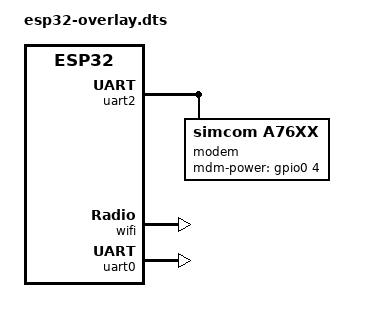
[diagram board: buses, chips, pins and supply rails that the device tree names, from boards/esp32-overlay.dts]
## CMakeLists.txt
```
# SPDX-License-Identifier: Apache-2.0

cmake_minimum_required(VERSION 3.20.0)

find_package(Zephyr REQUIRED HINTS $ENV{ZEPHYR_BASE})
project(adaptive_update)
FILE(GLOB app_sources src/*.c)
target_sources(app PRIVATE ${app_sources})
target_include_directories(app PRIVATE ${ZEPHYR_BASE}/subsys/net/ip)
target_include_directories(app PRIVATE include)
```

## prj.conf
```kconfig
CONFIG_BOOTLOADER_MCUBOOT=y

CONFIG_LOG=y
CONFIG_LOG_DEFAULT_LEVEL=3
# Config below is nice but it messes up wifi
CONFIG_LOG_MODE_IMMEDIATE=y  
CONFIG_NET_LOG=y
CONFIG_MODEM_LOG_LEVEL_DBG=y
CONFIG_UART_LOG_LEVEL_DBG=y
CONFIG_MODEM_CONTEXT_VERBOSE_DEBUG=y
CONFIG_LOG_MODE_IMMEDIATE=y
CONFIG_LOG_MODE_MINIMAL=y

# Network Configuration
CONFIG_NET_CONFIG_AUTO_INIT=n
CONFIG_NET_CONNECTION_MANAGER=y
# CONFIG_NET_IF_MAX_IPV4_COUNT=2
CONFIG_NET_IPV4=y
# CONFIG_NET_L2_ETHERNET=y
# CONFIG_NET_L2_WIFI_MGMT=y
# CONFIG_NET_MGMT=y
# CONFIG_NET_MGMT_EVENT=y
# CONFIG_NET_MGMT_EVENT_INFO=y
CONFIG_NET_UDP=y
CONFIG_NETWORKING=y
CONFIG_COAP=y
CONFIG_NET_SOCKETS=y
# CONFIG_POSIX_API=y
# CONFIG_NET_DHCPV4=y
# CONFIG_ESP32_WIFI_STA_AUTO_DHCPV4=y

CONFIG_NET_MGMT_EVENT_QUEUE_SIZE=10
CONFIG_NET_MGMT_EVENT_STACK_SIZE=4096
# CONFIG_NET_PKT_RX_COUNT=24
# CONFIG_NET_PKT_TX_COUNT=24
CONFIG_MAIN_STACK_SIZE=4096
# CONFIG_ISR_STACK_SIZE=4096
# CONFIG_NET_MGMT_EVENT_STACK_SIZE=5120

CONFIG_NET_BUF_RX_COUNT=32
CONFIG_NET_BUF_TX_COUNT=32
CONFIG_NET_BUF_DATA_SIZE=512
CONFIG_NET_RX_STACK_SIZE=4096
CONFIG_NET_TX_STACK_SIZE=4096
CONFIG_NET_PKT_RX_COUNT=64
CONFIG_NET_PKT_TX_COUNT=64
# CONFIG_HEAP_MEM_POOL_ADD_SIZE_ESP_WIFI=51200
# CONFIG_NET_DEBUG_MGMT_EVENT_STACK=y
CONFIG_SYSTEM_WORKQUEUE_STACK_SIZE=4096

CONFIG_SHELL=y
CONFIG_THREAD_STACK_INFO=y
CONFIG_THREAD_MONITOR=y
CONFIG_INIT_STACKS=y

# CONFIG_NET_SOCKETS_TLS_PRIORITY=45  # defaults to that already
# CONFIG_NET_SOCKETS_OFFLOAD_PRIORITY=40  # defaults to that already
# CONFIG_NET_SOCKETS_PRIORITY_DEFAULT=40  # defaults to that already
# i dont ever want socket() to link to the modem
CONFIG_MODEM_SIMCOM_A76XX_SOCKET_PRIORITY=40

CONFIG_NET_OFFLOAD=y
CONFIG_NET_SOCKETS=y
CONFIG_NET_SOCKETS_OFFLOAD=y

# Modem config
CONFIG_MODEM=y
CONFIG_MODEM_A76XX=y
CONFIG_MODEM_SIM_NUMBERS=n
CONFIG_MODEM_SIMCOM_A76XX_RAT_NB1=n
CONFIG_MODEM_SIMCOM_A76XX_RAT_M1=n
CONFIG_MODEM_SIMCOM_A76XX_RAT_GSM=y
```

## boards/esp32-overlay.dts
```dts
/ {

	chosen {
		zephyr,console = &uart0;
		zephyr,shell-uart = &uart0;
	};

	aliases {
        modem-uart = &uart2;
		modem = &modem;
		adaptive-net-device-1 = &modem;
    };
};


&uart2 {
    modem: modem {
		compatible = "simcom,a76xx";
        mdm-power-gpios = <&gpio0 4 GPIO_ACTIVE_HIGH>;
		status = "okay";
	};
    status = "okay";
};


&wifi {
	status = "okay";
};

&uart0 {
	status = "okay";
};
```

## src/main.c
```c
#include <zephyr/logging/log.h>
LOG_MODULE_REGISTER(main, LOG_LEVEL_DBG);

#include <zephyr/kernel.h>
#include <zephyr/net/wifi_mgmt.h>
#include <stdio.h>
#include <zephyr/net/net_ip.h>
#include <zephyr/net/socket.h>
#include <zephyr/net/udp.h>
#include <zephyr/net/coap.h>
#include <zephyr/posix/sys/socket.h>
#include "net_private.h"
#include "adaptive-sockets.h"


#define MAX_COAP_MSG_LEN 256
static const char *const test_path[] = {"hello", NULL};

static int send_simple_coap_request(int sock, uint8_t method)
{
    uint8_t payload[] = "payload";
    struct coap_packet request;
    const char *const *p;
    uint8_t *data;
    int r;

    data = (uint8_t *)k_calloc(MAX_COAP_MSG_LEN, 1);
    if (!data)
    {
        return -ENOMEM;
    }

    r = coap_packet_init(&request, data, MAX_COAP_MSG_LEN,
                         COAP_VERSION_1, COAP_TYPE_CON,
                         COAP_TOKEN_MAX_LEN, coap_next_token(),
                         method, coap_next_id());
    if (r < 0)
    {
        LOG_ERR("Failed to init CoAP message");
        goto end;
    }

    for (p = test_path; p && *p; p++)
    {
        r = coap_packet_append_option(&request, COAP_OPTION_URI_PATH,
                                      *p, strlen(*p));
        if (r < 0)
        {
            LOG_ERR("Unable add option to request");
            goto end;
        }
    }

    switch (method) {
	case COAP_METHOD_GET:
	case COAP_METHOD_DELETE:
		break;

	case COAP_METHOD_PUT:
	case COAP_METHOD_POST:
		r = coap_packet_append_payload_marker(&request);
		if (r < 0) {
			LOG_ERR("Unable to append payload marker");
			goto end;
		}

		r = coap_packet_append_payload(&request, (uint8_t *)payload,
					       sizeof(payload) - 1);
		if (r < 0) {
			LOG_ERR("Not able to append payload");
			goto end;
		}

		break;
	default:
		r = -EINVAL;
		goto end;
	}

    net_hexdump("Request", request.data, request.offset);

    r = zsock_send(sock, request.data, request.offset, 0);

end:
    k_free(data);

    return r;
}

static int process_simple_coap_reply(int sock)
{
    struct coap_packet reply;
    uint8_t *data;
    int rcvd;
    int ret;

    LOG_DBG("Starting to process simple CoAP reply...");

    data = (uint8_t *)k_calloc(MAX_COAP_MSG_LEN, 1);
    if (!data)
    {
        LOG_ERR("Failed to allocate memory for storing coap response.");
        return -ENOMEM;
    }

    rcvd = zsock_recv(sock, data, MAX_COAP_MSG_LEN, MSG_DONTWAIT);
    if (rcvd == 0)
    {
        LOG_ERR("Received zero bytes.");
        ret = -EIO;
        goto end;
    }

    // if (rcvd < 0)
    // {
    //     LOG_ERR("Something went wrong when recieving data.");
    //     if (errno == EAGAIN || errno == EWOULDBLOCK)
    //     {
    //         ret = 0;
    //     }
    //     else
    //     {
    //         ret = -errno;
    //     }

    //     goto end;
    // }

    net_hexdump("Response", data, rcvd);

    ret = coap_packet_parse(&reply, data, rcvd, NULL, 0);
    if (ret < 0)
    {
        LOG_ERR("Invalid data received");
    }

    /*
     * THE FIX: Extract and print the human-readable payload.
     */
    uint8_t *payload;
    uint16_t payload_len;

    payload = coap_packet_get_payload(&reply, &payload_len);
    if (payload && payload_len > 0)
    {
        /*
         * Use the %.*s format specifier to print the payload,
         * which is not a null-terminated string.
         */
        LOG_INF("CoAP response payload: %.*s", payload_len, payload);
    }
    else
    {
        LOG_WRN("CoAP response has no payload.");
    }

end:
    k_free(data);

    return ret;
}

int main(void)
{

    adaptive_sockets_init();

    int ret = 0;
    struct sockaddr_in addr;
    addr.sin_family = AF_INET;
    addr.sin_port = htons(5683);
    net_addr_pton(AF_INET, "134.102.218.18", &addr.sin_addr);

    int sock = zsock_socket(addr.sin_family, SOCK_DGRAM, IPPROTO_UDP);
    if (sock < 0)
    {
        LOG_ERR("Failed to create UDP socket %d", errno);
        return -sock;
    }
    else
    {
        LOG_DBG("Created socket with fd %d.", sock);
    }

    ret = zsock_connect(sock, (struct sockaddr *)&addr, sizeof(addr));
    if (ret < 0)
    {
        LOG_ERR("Cannot connect to UDP remote : %d", errno);
        return -ret;
    }
    else
    {
        LOG_INF("Connected to UDP remote.");
    }

    ret = send_simple_coap_request(sock, COAP_METHOD_GET);
    if (ret < 0)
    {
        LOG_ERR("Failed to send coap request. Error code %d.", ret);
        return ret;
    }
    else
    {
        LOG_INF("Sent coap request successfully");
    }

    ret = process_simple_coap_reply(sock);
    if (ret < 0)
    {
        LOG_ERR("Error process_simple_coap_reply: %d", errno);
    }
    else
    {
        LOG_INF("Processed coap reply correctly.");
    }

    return 0;
}
```

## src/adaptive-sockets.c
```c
#include <zephyr/logging/log.h>
LOG_MODULE_REGISTER(adaptive_sockets, LOG_LEVEL_DBG);
#include <zephyr/kernel.h>
#include <zephyr/net/net_if.h>
#include <zephyr/net/socket.h>
#include <zephyr/net/net_context.h>
#include <zephyr/net/net_pkt.h>
#include <zephyr/device.h>
#include <zephyr/devicetree.h>


// node identifiers
#define ADAPT_NET_DEV_1 DT_ALIAS(adaptive_net_device_1)

// compile time checks
#if !DT_NODE_HAS_STATUS(ADAPT_NET_DEV_1, okay)
#error "Devicetree alias 'adaptive-net-device-1' is missing or disabled. Please define it in your board overlay."
#endif

void log_interface_conditions(struct net_if *iface)
{
    if (iface == NULL) {
        LOG_ERR("Cannot log conditions: Interface pointer is NULL.");
        return;
    }
    LOG_DBG("Admin up: %d\nCarrier okay: %d\nIs dormant: %d", net_if_is_admin_up(iface), net_if_is_carrier_ok(iface), net_if_is_dormant(iface));
    
}


/*
 * Holds data for and Adaptive Socket
 */
struct adaptive_socket
{
    int fd;
    struct net_context *context;
    struct k_sem recv_pkt_sem;
    struct net_pkt *recv_pkt;
    struct sockaddr *dest_addr;
    socklen_t dest_addr_len;
    int error;
};

/*
 * Holds data for the Adaptive Sockets Layer
 */
struct adaptive_sockets_layer
{
    struct net_if *net_if_1;
    int error;
};

static struct adaptive_sockets_layer adapt_sockets_layer = {0};
static int adaptive_close(void *obj);
static int adaptive_connect(void *obj, const struct sockaddr *dest_addr, socklen_t dest_addr_len);
static ssize_t adaptive_sendto(void *obj, const void *buf, size_t buf_len, int flags, const struct sockaddr *dest_addr, socklen_t dest_addr_len);
static ssize_t adaptive_recvfrom(void *obj, void *buf, size_t buf_len, int flags, struct sockaddr *src_addr, socklen_t *src_addr_len);

static const struct socket_op_vtable adapt_socket_ops = {
    .fd_vtable = {
        .read = NULL,   // implement as caller for recvfrom
        .write = NULL, // implement as caller for sendto
        .close = adaptive_close, // implement
        .ioctl = NULL},
    .shutdown = NULL,
    .bind = NULL,
    .connect = adaptive_connect, // implement
    .listen = NULL,
    .accept = NULL,
    .sendto = adaptive_sendto,     // implement
    .recvfrom = adaptive_recvfrom, // implement
    .getsockopt = NULL,
    .setsockopt = NULL,
    .sendmsg = NULL,
    .recvmsg = NULL,
    .getpeername = NULL,
    .getsockname = NULL,
};

void log_ipv4(struct sockaddr *addr, socklen_t addrlen)
{
    if (addr && addrlen >= sizeof(struct sockaddr_in))
    {
        // Assume IPv4 for demonstration (common case)
        const struct sockaddr_in *sin = (const struct sockaddr_in *)addr;
        char addr_str[NET_IPV4_ADDR_LEN];

        // Convert the IP address to a human-readable string
        if (net_addr_ntop(AF_INET, &sin->sin_addr, addr_str, sizeof(addr_str)))
        {

            LOG_DBG("Address: %s:%u",
                    addr_str,
                    ntohs(sin->sin_port));
            LOG_DBG("Address Family (sin_family): %d (AF_INET=2)", sin->sin_family);
        }
        else
        {
            LOG_DBG("Destination Address available, but net_addr_ntop failed.");
        }
    }
    else if (addr)
    {
        LOG_DBG("Destination Address provided, but is NOT IPv4 or size is incorrect. Family: %d",
                addr->sa_family);
    }
    else
    {
        LOG_DBG("Destination Address (addr): NULL");
    }
}



int adaptive_sockets_init(void)
{
    if (adapt_sockets_layer.error != 0) {
        LOG_ERR("Cannot initialize adaptive sockets layer while in an error state!");
        return -adapt_sockets_layer.error;
    }
    adapt_sockets_layer.error = 0;
    struct device * net_dev_1 = DEVICE_DT_GET(ADAPT_NET_DEV_1);
    if (net_dev_1 == NULL)
    {
        LOG_ERR("Failed to get net device 1!");
        adapt_sockets_layer.error = ENODEV;
        return -adapt_sockets_layer.error;
    }
    if (!device_is_ready(net_dev_1)) {
        LOG_ERR("Device 'adaptive-net-device-1' is not ready yet.");
        // Use EBUSY: Resource is busy or not initialized.
        adapt_sockets_layer.error = EBUSY;
        return -adapt_sockets_layer.error;
    }
    adapt_sockets_layer.net_if_1 = net_if_lookup_by_dev(net_dev_1);
    if (adapt_sockets_layer.net_if_1 == NULL)
    {
        LOG_ERR("Failed to get network interface for net device 1!");
        adapt_sockets_layer.error = ENODEV;
        return -adapt_sockets_layer.error;
    }
    log_interface_conditions(adapt_sockets_layer.net_if_1);
    // do some more init stuff
    return -adapt_sockets_layer.error;
}

static int adaptive_close(void *obj)
{
    struct adaptive_socket *socket = (struct adaptive_socket *)obj;
    LOG_DBG("Running adaptive_close for socket %d...", socket->fd);
    int error = net_context_put(socket->context);
    if (error < 0)
    {
        LOG_ERR("Failed to put network context. Error %d.", error);
    }
    k_free(socket);
    return 0;
}

static int adaptive_connect(void *obj, const struct sockaddr *dest_addr, socklen_t dest_addr_len)
{
    struct adaptive_socket *socket = (struct adaptive_socket *)obj;
    LOG_DBG("Running adaptive_connect for socket %d...", socket->fd);
    // LOG_DBG("addrlen: %d", addrlen);
    // log_ipv4(addr, addrlen);
    // LOG_DBG("----------------------------");
    socket->dest_addr = dest_addr;
    socket->dest_addr_len = dest_addr_len;
    net_context_connect(
        socket->context,
        dest_addr,
        dest_addr_len,
        NULL,
        K_FOREVER,
        NULL);
    return 0;
}

void on_send(struct net_context *context, int status, void *user_data)
{
    LOG_DBG("Running on_send...");
}


void on_receive(
    struct net_context *context,
    struct net_pkt *pkt,
    union net_ip_header *ip_hdr,
    union net_proto_header *proto_hdr,
    int status,
    void *user_data)
{
    if (status != 0) {
        return;
    }
    LOG_DBG("Running on_receive...");
    struct adaptive_socket *socket = (struct adaptive_socket *)user_data;
    socket->recv_pkt = pkt;
    k_sem_give(&socket->recv_pkt_sem);
}

static ssize_t adaptive_sendto(void *obj, const void *buf, size_t buf_len, int flags,
                               const struct sockaddr *dest_addr, socklen_t addr_len)
{
    struct adaptive_socket *socket = (struct adaptive_socket *)obj;
    LOG_DBG("Running adaptive_sendto for socket %d...", socket->fd);
    // LOG_DBG("--- Adaptive Sendto Args ---");
    // LOG_DBG("len: %zu, flags: 0x%x", len, flags);
    // LOG_DBG("addrlen: %d", socket->destination_address_length);
    // log_ipv4(socket->destination_address, addrlen);
    // LOG_DBG("----------------------------");

    // try to send the request over wifi
    return net_context_sendto(
        socket->context,
        buf,
        buf_len,
        socket->dest_addr,
        socket->dest_addr_len,
        on_send,
        K_FOREVER,
        NULL);
}

static ssize_t adaptive_recvfrom(void *obj, void *buf, size_t buf_len, int flags,
                                 struct sockaddr *src_addr, socklen_t *src_addr_len)
{
    int error;
    struct adaptive_socket *socket = (struct adaptive_socket *)obj;
    LOG_DBG("Running adaptive_recvfrom for socket %d...", socket->fd);
    error = net_context_recv(socket->context, on_receive, K_FOREVER, socket);
    if (error < 0)
    {
        LOG_ERR("Failed to receive data from context. Error: %d.", error);
        return error;
    }
    error = k_sem_take(&socket->recv_pkt_sem, K_SECONDS(60));
    if (error == -EAGAIN)
    {
        LOG_ERR("Timeout waiting for data.");
        return -ETIMEDOUT;
    }

    if (socket->recv_pkt == NULL)
    {
        LOG_ERR("No recieved packet found.");
        return -1;
    }
    // net_pkt_cursor_init(socket->received_packet);
    size_t pkt_len = net_pkt_get_len(socket->recv_pkt);
    size_t bytes_to_copy = (pkt_len < buf_len ? pkt_len : buf_len);// - 28;
    LOG_DBG("max_length: %zu, packet_length: %zu, bytes_to_copy: %zu", buf_len, pkt_len, bytes_to_copy);
    // net_pkt_cursor_init(socket->received_packet);
    error = net_pkt_read(socket->recv_pkt, buf, bytes_to_copy);
    if (error < 0)
    {
        LOG_ERR("Failed to read network packet. Error code: %d.", error);
    }
    net_pkt_unref(socket->recv_pkt); // unref the packet regardless of whether it was read successfully.
    socket->recv_pkt = NULL;
    return error == 0 ? (ssize_t)bytes_to_copy : (ssize_t)error;
}

static bool adaptive_connection_is_supported(int family, int type, int proto)
{
    LOG_DBG("Running adaptive_connection_is_supported...");
    return family == AF_INET && type == SOCK_DGRAM && proto == IPPROTO_UDP;
}

static int adaptive_get_socket(int family, int type, int proto)
{
    LOG_DBG("Running adaptive_get_socket...");

    if (adapt_sockets_layer.net_if_1 == NULL)
    {
        return -ENETDOWN;
    }

    struct adaptive_socket *socket = k_calloc(1, sizeof(struct adaptive_socket));
    if (socket == NULL)
    {
        return -ENOMEM;
    }
    int fd = zvfs_reserve_fd();
    if (fd < 0)
    {
        return fd; // contains an error
    }
    socket->fd = fd;
    zvfs_finalize_typed_fd(
        socket->fd,
        socket,
        (struct fd_op_vtable *)&adapt_socket_ops,
        ZVFS_MODE_IFSOCK);
    
    int error_code = net_context_get(family, type, proto, &socket->context);
    if (error_code < 0)
    {
        LOG_ERR("Failed to get a network context. Error %d.", error_code);
    }
    net_context_bind_iface(socket->context, adapt_sockets_layer.net_if_1);
    k_sem_init(&socket->recv_pkt_sem, 0, 1);
    return socket->fd;
}

NET_SOCKET_OFFLOAD_REGISTER(
    adaptive_sockets,
    CONFIG_ADAPTIVE_SOCKETS_PRIORITY,
    AF_INET,
    adaptive_connection_is_supported,
    adaptive_get_socket);
```
